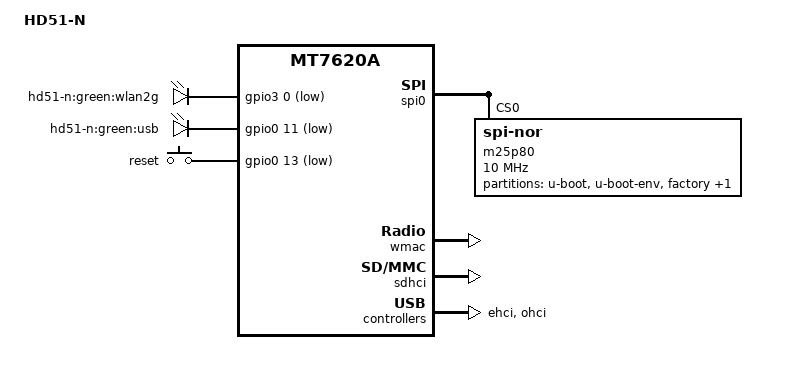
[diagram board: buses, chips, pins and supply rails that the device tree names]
/dts-v1/;

#include "mt7620a.dtsi"

#include <dt-bindings/gpio/gpio.h>
#include <dt-bindings/input/input.h>

/ {
	compatible = "HD51-N", "ralink,mt7620a-soc";
	model = "HD51-N";

	gpio-leds {
		compatible = "gpio-leds";

		wlan2g {
			label = "hd51-n:green:wlan2g";
			gpios = <&gpio3 0 GPIO_ACTIVE_LOW>;
		};

		usb {
			label = "hd51-n:green:usb";
			gpios = <&gpio0 11 GPIO_ACTIVE_LOW>;
		};
	};

	gpio-keys-polled {
		compatible = "gpio-keys-polled";
		#address-cells = <1>;
		#size-cells = <0>;
		poll-interval = <20>;
		reset {
			label = "reset";
			gpios = <&gpio0 13 GPIO_ACTIVE_LOW>;
			linux,code = <KEY_RESTART>;
		};
	};
};

&gpio0 {
	status = "okay";
};

&gpio1 {
	status = "okay";
};

&gpio2 {
	status = "okay";
};

&gpio3 {
	status = "okay";
};

&spi0 {
	status = "okay";

	m25p80@0 {
		#address-cells = <1>;
		#size-cells = <1>;
		compatible = "jedec,spi-nor";
		reg = <0>;
		spi-max-frequency = <10000000>;

		partition@0 {
			label = "u-boot";
			reg = <0x0 0x30000>;
		};

		partition@30000 {
			label = "u-boot-env";
			reg = <0x30000 0x10000>;
		};

		factory: partition@40000 {
			label = "factory";
			reg = <0x40000 0x10000>;
		};

		partition@50000 {
			label = "firmware";
			reg = <0x50000 0xfb0000>;
		};
	};
};

&pinctrl {
	state_default: pinctrl0 {
		gpio {
			ralink,group = "i2c", "uartf", "rgmii1", "rgmii2", "wled", "nd_sd";
			ralink,function = "gpio";
		};

		pa {
			ralink,group = "pa";
			ralink,function = "pa";
		};
	};
};

&ethernet {
	pinctrl-names = "default";
	pinctrl-0 = <&ephy_pins>;
	mtd-mac-address = <&factory 0x28>;
	mediatek,portmap = "llllw";
};

&wmac {
	ralink,mtd-eeprom = <&factory 0>;
};

&sdhci {
	status = "okay";
};

&ehci {
	status = "okay";
};

&ohci {
	status = "okay";
};
